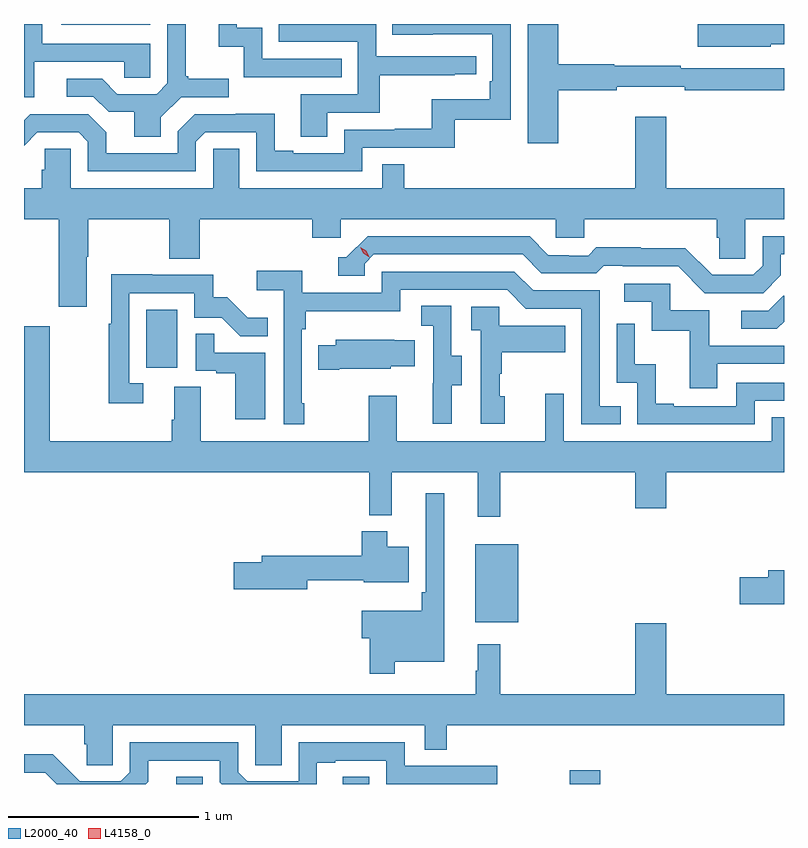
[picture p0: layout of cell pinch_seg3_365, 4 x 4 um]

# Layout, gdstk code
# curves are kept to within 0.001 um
import gdstk
lib = gdstk.Library(unit=1e-6, precision=1e-09)
def R(c, l, rs):  # rectangles x0, y0, x1, y1
    for r in rs: c.add(gdstk.rectangle(r[:2], r[2:], *l))
def P(c, l, *ps):  # polygons
    for p in ps: c.add(gdstk.Polygon(p, *l))
L2000_40 = (2000, 40)
L4158_0 = (4158, 0)

pinch_seg3_365 = lib.new_cell('pinch_seg3_365')
R(pinch_seg3_365, L2000_40, [(1001.753,700.608,1001.893,700.646), (1002.629,700.608,1002.769,700.646), (1003.823,700.608,1003.984,700.681), (1003.325,701.459,1003.552,701.869), (1001.594,702.798,1001.758,703.105), (1001.148,704.604,1001.616,704.608)])
P(pinch_seg3_365, L2000_40, [(1002.547,704.142),(1002.824,704.142),(1002.824,704.338),(1003.217,704.338),(1003.217,704.343),(1003.33,704.343),(1003.33,704.439),(1002.804,704.439),(1002.804,704.608),(1002.292,704.608),(1002.292,704.514),(1002.708,704.514),(1002.708,704.238),(1002.407,704.238),(1002.407,704.014),(1002.547,704.014)],
  [(1001.856,703.989),(1001.904,704.037),(1002.174,704.037),(1002.174,703.833),(1002.732,703.833),(1002.732,703.956),(1003.219,703.956),(1003.219,704.103),(1003.512,704.103),(1003.512,704.608),(1002.889,704.608),(1002.889,704.552),(1003.416,704.553),(1003.416,704.308),(1003.403,704.308),(1003.403,704.212),(1003.098,704.212),(1003.098,704.057),(1002.901,704.057),(1002.901,704.052),(1002.636,704.052),(1002.636,703.929),(1002.367,703.929),(1002.367,703.942),(1002.271,703.942),(1002.271,704.135),(1002.066,704.135),(1002.066,704.133),(1001.85,704.133),(1001.76,704.043),(1001.76,703.929),(1001.383,703.929),(1001.383,704.039),(1001.289,704.133),(1000.983,704.133),(1000.951,704.101),(1000.951,703.966),(1001.022,704.037),(1001.238,704.037),(1001.286,703.989),(1001.286,703.833),(1001.856,703.833)],
  [(1002.623,704.424),(1002.204,704.424),(1002.204,704.587),(1002.072,704.587),(1002.072,704.608),(1001.975,704.608),(1001.975,704.489),(1002.108,704.489),(1002.108,704.328),(1002.623,704.328)],
  [(1001.671,704.116),(1001.778,704.223),(1002.028,704.223),(1002.028,704.32),(1001.815,704.32),(1001.815,704.332),(1001.803,704.332),(1001.803,704.608),(1001.706,704.608),(1001.706,704.295),(1001.649,704.238),(1001.443,704.238),(1001.362,704.319),(1001.175,704.319),(1001.175,704.226),(1001.316,704.226),(1001.396,704.146),(1001.531,704.146),(1001.531,704.014),(1001.671,704.014)],
  [(1001.005,704.409),(1001.479,704.409),(1001.479,704.325),(1001.616,704.325),(1001.616,704.505),(1001.047,704.505),(1001.047,704.608),(1000.951,704.608),(1000.951,704.223),(1001.005,704.223)],
  [(1004.88,704.502),(1004.951,704.502),(1004.951,704.608),(1004.496,704.608),(1004.496,704.489),(1004.88,704.489)],
  [(1003.762,704.26),(1004.072,704.26),(1004.072,704.279),(1004.428,704.279),(1004.428,704.26),(1004.951,704.26),(1004.951,704.376),(1004.408,704.376),(1004.408,704.389),(1004.058,704.389),(1004.058,704.396),(1003.762,704.396),(1003.762,704.608),(1003.601,704.608),(1003.601,703.98),(1003.762,703.98)],
  [(1001.196,703.952),(1001.059,703.952),(1001.059,703.842),(1001.045,703.842),(1001.045,703.744),(1000.951,703.744),(1000.951,703.58),(1001.134,703.58),(1001.134,703.119),(1001.281,703.119),(1001.281,703.384),(1001.289,703.384),(1001.289,703.58),(1001.716,703.58),(1001.716,703.372),(1001.876,703.372),(1001.876,703.58),(1002.467,703.58),(1002.467,703.482),(1002.618,703.482),(1002.618,703.58),(1003.749,703.58),(1003.749,703.482),(1003.899,703.482),(1003.899,703.58),(1004.597,703.58),(1004.597,703.482),(1004.611,703.482),(1004.611,703.372),(1004.748,703.372),(1004.748,703.58),(1004.951,703.58),(1004.951,703.744),(1004.332,703.744),(1004.332,704.119),(1004.168,704.119),(1004.168,703.744),(1002.953,703.744),(1002.953,703.871),(1002.837,703.871),(1002.837,703.744),(1002.085,703.744),(1002.085,703.952),(1001.946,703.952),(1001.946,703.744),(1001.196,703.744)],
  [(1004.935,703.285),(1004.935,703.395),(1004.951,703.395),(1004.951,703.491),(1004.838,703.491),(1004.838,703.335),(1004.79,703.287),(1004.574,703.287),(1004.432,703.429),(1004.196,703.429),(1004.196,703.432),(1003.963,703.432),(1003.921,703.389),(1003.818,703.389),(1003.818,703.392),(1003.711,703.392),(1003.612,703.491),(1002.759,703.491),(1002.648,703.38),(1002.605,703.38),(1002.605,703.284),(1002.744,703.284),(1002.744,703.347),(1002.792,703.395),(1003.575,703.395),(1003.674,703.296),(1003.963,703.296),(1004.002,703.335),(1004.101,703.335),(1004.101,703.332),(1004.394,703.332),(1004.535,703.191),(1004.841,703.191)],
  [(1002.427,702.613),(1002.414,702.613),(1002.414,703.001),(1002.434,703.001),(1002.434,703.097),(1002.93,703.097),(1002.93,703.209),(1003.494,703.209),(1003.593,703.11),(1003.884,703.11),(1003.884,702.501),(1004.093,702.501),(1004.093,702.597),(1003.98,702.597),(1003.98,703.206),(1003.63,703.206),(1003.531,703.305),(1002.834,703.305),(1002.834,703.194),(1002.416,703.194),(1002.416,703.31),(1002.177,703.31),(1002.177,703.208),(1002.318,703.208),(1002.318,702.501),(1002.427,702.501)],
  [(1001.578,702.717),(1001.505,702.717),(1001.505,703.191),(1001.847,703.191),(1001.847,703.062),(1001.991,703.062),(1002.089,702.964),(1002.233,702.964),(1002.233,703.063),(1002.129,703.063),(1002.022,703.17),(1001.946,703.17),(1001.946,703.287),(1001.627,703.287),(1001.627,703.292),(1001.409,703.292),(1001.409,703.031),(1001.397,703.031),(1001.397,702.612),(1001.578,702.612)],
  [(1004.599,702.819),(1004.951,702.819),(1004.951,702.915),(1004.557,702.915),(1004.557,703.101),(1004.352,703.101),(1004.352,703.242),(1004.109,703.242),(1004.109,703.146),(1004.256,703.146),(1004.256,702.993),(1004.455,702.993),(1004.455,702.69),(1004.599,702.69)],
  [(1004.951,703.042),(1004.951,703.178),(1004.948,703.178),(1004.868,703.098),(1004.727,703.098),(1004.727,703.005),(1004.914,703.005)],
  [(1003.201,702.706),(1003.255,702.706),(1003.255,702.861),(1003.2,702.861),(1003.2,703.124),(1003.041,703.124),(1003.041,703.021),(1003.104,703.021),(1003.104,702.717),(1003.103,702.717),(1003.103,702.504),(1003.201,702.504)],
  [(1003.48,702.648),(1003.455,702.648),(1003.455,702.767),(1003.465,702.767),(1003.465,702.881),(1003.799,702.881),(1003.799,703.021),(1003.452,703.021),(1003.452,703.119),(1003.305,703.119),(1003.305,702.995),(1003.356,702.995),(1003.356,702.504),(1003.48,702.504)],
  [(1004.796,702.624),(1004.951,702.624),(1004.951,702.72),(1004.7,702.72),(1004.7,702.597),(1004.371,702.597),(1004.371,702.61),(1004.276,702.61),(1004.276,702.818),(1004.166,702.818),(1004.166,703.03),(1004.07,703.03),(1004.07,702.72),(1004.178,702.72),(1004.178,702.501),(1004.796,702.501)],
  [(1003.457,702.248),(1004.168,702.248),(1004.168,702.06),(1004.332,702.06),(1004.332,702.248),(1004.951,702.248),(1004.951,702.539),(1004.886,702.539),(1004.886,702.412),(1003.791,702.412),(1003.791,702.661),(1003.694,702.661),(1003.694,702.412),(1002.913,702.412),(1002.913,702.652),(1002.766,702.652),(1002.766,702.412),(1001.881,702.412),(1001.881,702.698),(1001.741,702.698),(1001.741,702.524),(1001.729,702.524),(1001.729,702.412),(1001.086,702.412),(1001.086,703.018),(1000.951,703.018),(1000.951,702.248),(1002.769,702.248),(1002.769,702.023),(1002.887,702.023),(1002.887,702.248),(1003.34,702.248),(1003.34,702.015),(1003.457,702.015)],
  [(1002.22,702.879),(1001.951,702.879),(1001.951,702.977),(1001.856,702.977),(1001.856,702.783),(1001.963,702.783),(1001.963,702.771),(1002.062,702.771),(1002.062,702.528),(1002.22,702.528)],
  [(1002.61,702.794),(1002.882,702.794),(1002.882,702.806),(1003.007,702.806),(1003.007,702.943),(1002.899,702.943),(1002.899,702.946),(1002.593,702.946),(1002.593,702.916),(1002.499,702.916),(1002.499,702.787),(1002.61,702.787)],
  [(1002.901,701.252),(1003.162,701.252),(1003.162,702.139),(1003.065,702.139),(1003.065,701.617),(1003.045,701.617),(1003.045,701.521),(1002.728,701.521),(1002.728,701.374),(1002.772,701.374),(1002.772,701.187),(1002.901,701.187)],
  [(1002.442,701.68),(1002.74,701.68),(1002.74,701.669),(1002.976,701.669),(1002.976,701.857),(1002.862,701.857),(1002.862,701.938),(1002.728,701.938),(1002.728,701.809),(1002.203,701.809),(1002.203,701.775),(1002.054,701.775),(1002.054,701.633),(1002.442,701.633)],
  [(1004.951,701.732),(1004.867,701.732),(1004.867,701.696),(1004.718,701.696),(1004.718,701.554),(1004.951,701.554)],
  [(1001.418,700.916),(1002.168,700.916),(1002.168,700.708),(1002.307,700.708),(1002.307,700.916),(1003.059,700.916),(1003.059,700.789),(1003.175,700.789),(1003.175,700.916),(1004.951,700.916),(1004.951,701.08),(1004.332,701.08),(1004.332,701.455),(1004.168,701.455),(1004.168,701.08),(1003.457,701.08),(1003.457,701.344),(1003.34,701.344),(1003.34,701.204),(1003.329,701.204),(1003.329,701.08),(1000.951,701.08),(1000.951,700.916),(1001.267,700.916),(1001.267,700.818),(1001.281,700.818),(1001.281,700.708),(1001.418,700.708)],
  [(1001.605,700.621),(1001.605,700.731),(1001.982,700.731),(1001.982,700.617),(1001.991,700.608),(1002.493,700.608),(1002.493,700.719),(1002.589,700.719),(1002.589,700.731),(1002.858,700.731),(1002.858,700.608),(1003.441,700.608),(1003.441,700.704),(1002.954,700.704),(1002.954,700.827),(1002.396,700.827),(1002.396,700.623),(1002.126,700.623),(1002.078,700.671),(1002.078,700.827),(1001.508,700.827),(1001.508,700.671),(1001.46,700.623),(1001.244,700.623),(1001.102,700.765),(1000.951,700.765),(1000.951,700.668),(1001.064,700.668),(1001.124,700.608),(1001.592,700.608)])
P(pinch_seg3_365, L4158_0, [(1002.768,703.381),(1002.737,703.401),(1002.721,703.433),(1002.721,703.434),(1002.722,703.434),(1002.752,703.414),(1002.768,703.381),(1002.768,703.381)])

lib.write_gds('pinch_seg3_365.gds')
